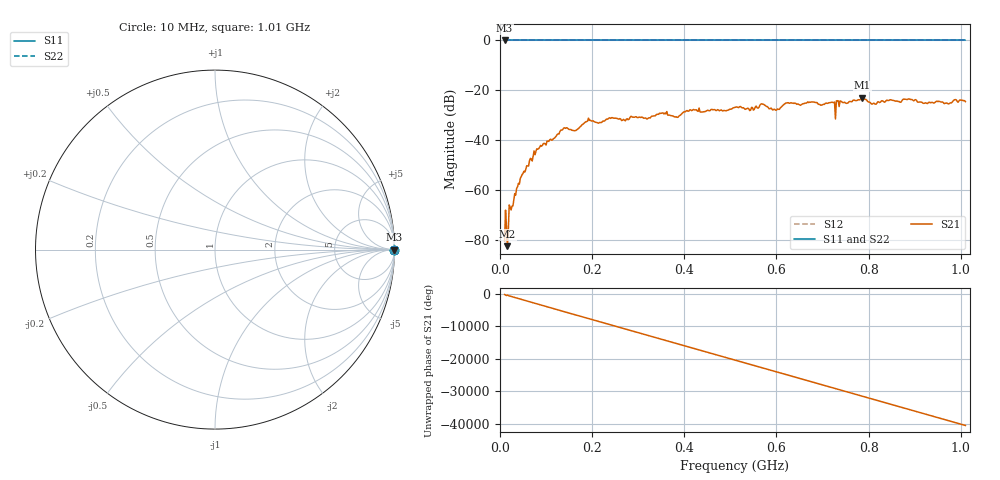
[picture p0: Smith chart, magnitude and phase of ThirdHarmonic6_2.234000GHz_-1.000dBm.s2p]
! 8/17/2025 2:34:03 AM
! C:\ANRITSUVNA\TEMP\TEMP.S2P
! CHANNEL.1
! TR.MEASUREMENT
! RAW.DATA
! RF.CORRECTION.OFF
! AVERAGING.OFF
! IF.BANDWIDTH: 5KHZ
! SWEEPTYPE:  FREQ.SWEEP(Linear)
! Reference Plane Port Info
! PORT:  PORT1  PORT2
! DISTANCE:  0  m  0  m
! TIME:  0  s  0  s
! PHASE.OFFSET:  0  deg.  0  deg.
! LOSS:  0  dB  0  dB
! REF.LOSS:  0  dB  0  dB
! REF.FREQ:  0  Hz  0  Hz
! Power Info
! POWER:  -20  dBm  -20  dBm
! EFF.POWER:  -20  dBm  -20  dBm
! SOURCE.ATTEN:  0  dB  0  dB
! TEST.ATTEN:  0  dB  0  dB
# GHZ S RI R 50.0
! FREQ.GHZ  S11RE  S11IM  S21RE  S21IM  S12RE  S12IM  S22RE  S22IM
!; PortSelection: Port_12
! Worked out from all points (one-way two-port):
!   501 points, 10 MHz to 1.01 GHz, reference 50 ohm
!   highest |S21| = -22.99 dB at 786 MHz (marker M1); lowest = -82.6 dB at 16 MHz (marker M2)
!   lowest |S11| = 0.0 dB at 10 MHz (marker M3)
!   |S11| at or under -10 dB: nowhere
!   |S22| runs from 0.0 to 0.0 dB; largest |S21 - S12| = 1.1
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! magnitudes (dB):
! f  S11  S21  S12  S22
! 10 MHz  0.0  -80.3  0.0  0.0
! 14 MHz  0.0  -74.5  0.0  0.0
! 16 MHz  0.0  -82.6  0.0  0.0
! 44 MHz  0.0  -55.4  0.0  0.0
! 78 MHz  0.0  -44.5  0.0  0.0
! 136 MHz  0.0  -35.8  0.0  0.0
! 162 MHz  0.0  -36.2  0.0  0.0
! 178 MHz  0.0  -33.9  0.0  0.0
! 192 MHz  0.0  -31.2  0.0  0.0
! 344 MHz  0.0  -29.6  0.0  0.0
! 382 MHz  0.0  -30.6  0.0  0.0
! 416 MHz  0.0  -28.2  0.0  0.0
! 510 MHz  0.0  -26.9  0.0  0.0
! 570 MHz  0.0  -25.6  0.0  0.0
! 602 MHz  0.0  -27.5  0.0  0.0
! 622 MHz  0.0  -25.1  0.0  0.0
! 678 MHz  0.0  -24.7  0.0  0.0
! 732 MHz  0.0  -24.2  0.0  0.0
! 786 MHz  0.0  -23.0  0.0  0.0
! 812 MHz  0.0  -25.3  0.0  0.0
! 844 MHz  0.0  -24.1  0.0  0.0
! 1.01 GHz  0.0  -24.6  0.0  0.0
